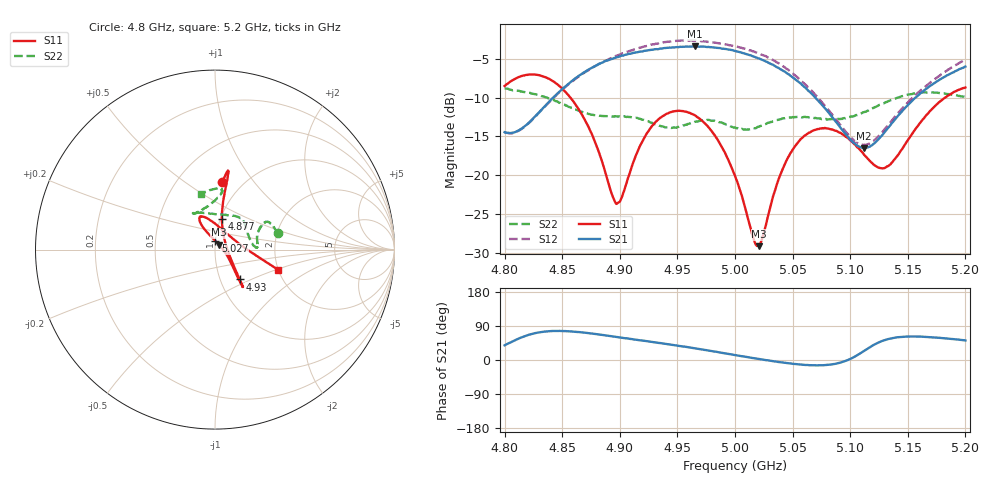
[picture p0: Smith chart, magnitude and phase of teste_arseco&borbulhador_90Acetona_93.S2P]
! Network Analyzer HP8722D
! Hewlett-Packard
! Data name: Linha & Wilkinson
! Saver's name: Rodrigo Anjos
! Comments: Teste da utilização de aquisição
! continua pelo VNA HP8722D
! Time and date: 17/4/2025 11:49
!  Frequency  S11  S21  S12  S22
# HZ  S  MA R 50
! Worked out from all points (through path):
!   401 points, 4.8 GHz to 5.2 GHz, reference 50 ohm
!   highest |S21| = -3.42 dB at 4.965 GHz (marker M1); lowest = -16.5 dB at 5.112 GHz (marker M2)
!   lowest |S11| = -29.1 dB at 5.021 GHz (marker M3), VSWR 1.07, Z = 52.2 + j2.83 ohm
!   |S11| at or under -10 dB: 4.857 GHz to 5.182 GHz (325.2 MHz wide, 6.48 % of centre)
!   |S22| runs from -14.1 to -8.8 dB; largest |S21 - S12| = 0.24
!   S11 on the Smith chart (normalised r, x): 4.8 GHz: 0.80, +0.70; 4.877 GHz: 1.02, +0.36; 4.93 GHz: 1.24, -0.43; 5.027 GHz: 1.00, +0.10; 5.2 GHz: 1.99, -0.51
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4.8e9  0.3757 84.4  0.1894 38.8  0.1886 -0.7  0.3615 14.4
4.814e9  0.4329 81.4  0.1984 58.9  0.1969 20.1  0.3462 23.2
4.834e9  0.4316 80.1  0.2739 74.6  0.2718 38.2  0.3218 28.7
4.867e9  0.2466 80.1  0.4491 72.8  0.4462 42.8  0.2565 21.2
4.877e9  0.1746 77.2  0.4979 69.3  0.497 41.9  0.2445 16.7
4.898e9  0.06616 16.5  0.5768 60.5  0.5905 39.0  0.2393 7.0
4.918e9  0.1571 -44.2  0.6259 51.9  0.6641 34.3  0.2302 3.1
4.93e9  0.2163 -50.3  0.6472 46.8  0.6976 31.1  0.2137 6.8
4.934e9  0.2308 -51.6  0.65 44.9  0.7107 29.7  0.2086 9.8
4.965e9  0.2433 -52.9  0.6749 30.8  0.7354 17.9  0.2205 41.4
4.983e9  0.178 -48.8  0.663 22.0  0.7131 11.1  0.2225 54.4
5e9  0.09912 -35.6  0.6317 13.0  0.6779 4.8  0.2034 72.7
5.016e9  0.03917 12.8  0.5819 4.9  0.6273 -1.4  0.2012 94.9
5.021e9  0.03495 50.8  0.5642 2.6  0.6068 -3.1  0.2059 101.5
5.027e9  0.04831 87.6  0.5389 -0.4  0.5842 -5.2  0.2142 107.6
5.045e9  0.1257 117.1  0.4552 -8.1  0.4833 -11.3  0.2345 118.4
5.067e9  0.1926 116.9  0.3325 -13.8  0.3474 -13.5  0.235 120.6
5.09e9  0.1891 107.8  0.2098 -7.9  0.2171 -3.6  0.2308 111.1
5.112e9  0.1357 84.9  0.1497 24.0  0.1571 31.4  0.2551 95.6
5.134e9  0.1161 32.0  0.2062 56.0  0.2155 66.3  0.3012 84.8
5.171e9  0.2671 -11.6  0.3834 60.0  0.4029 77.9  0.3414 87.4
5.2e9  0.3674 -17.6  0.501 51.6  0.5563 75.6  0.3189 104.4
